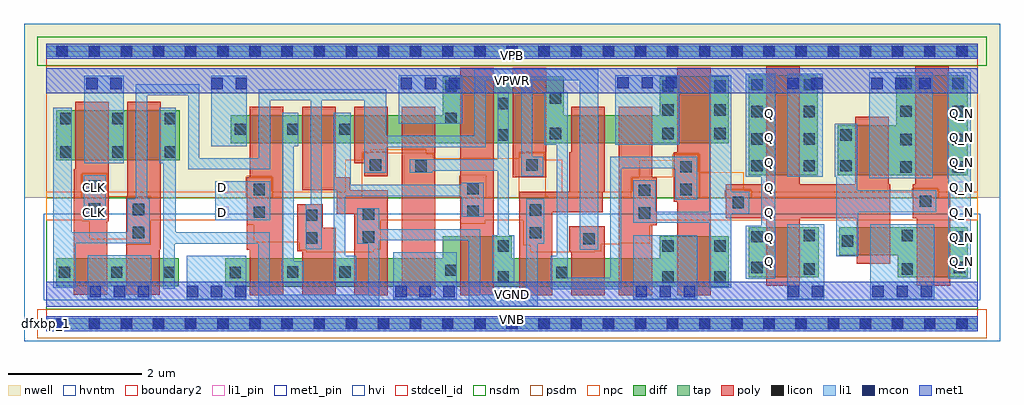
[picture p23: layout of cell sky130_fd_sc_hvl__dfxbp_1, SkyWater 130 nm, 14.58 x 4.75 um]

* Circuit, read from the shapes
.subckt sky130_fd_sc_hvl__dfxbp_1 CLK D Q Q_N VGND VNB VPB VPWR
XM1 VGND CLK n1 VNB sky130_fd_pr__nfet_g5v0d10v5 w=0.42 l=0.5
XM2 n2 n1 VGND VNB sky130_fd_pr__nfet_g5v0d10v5 w=0.42 l=0.5
XM3 n3 D VGND VNB sky130_fd_pr__nfet_g5v0d10v5 w=0.42 l=0.5
XM4 n4 n1 n3 VNB sky130_fd_pr__nfet_g5v0d10v5 w=0.42 l=0.5
XM5 n5 n2 n4 VNB sky130_fd_pr__nfet_g5v0d10v5 w=0.42 l=0.5
XM6 VGND n6 n5 VNB sky130_fd_pr__nfet_g5v0d10v5 w=0.42 l=0.5
XM7 n6 n4 VGND VNB sky130_fd_pr__nfet_g5v0d10v5 w=0.75 l=0.5
XM8 n7 n2 n6 VNB sky130_fd_pr__nfet_g5v0d10v5 w=0.42 l=0.5
XM9 n8 n1 n7 VNB sky130_fd_pr__nfet_g5v0d10v5 w=0.42 l=0.5
XM10 VGND n9 n8 VNB sky130_fd_pr__nfet_g5v0d10v5 w=0.42 l=0.5
XM11 n9 n7 VGND VNB sky130_fd_pr__nfet_g5v0d10v5 w=0.75 l=0.5
XM12 VGND n9 Q VNB sky130_fd_pr__nfet_g5v0d10v5 w=0.75 l=0.5
XM13 VGND n9 n10 VNB sky130_fd_pr__nfet_g5v0d10v5 w=0.42 l=0.5
XM14 Q_N n10 VGND VNB sky130_fd_pr__nfet_g5v0d10v5 w=0.75 l=0.5
XM15 VPWR CLK n1 VPB sky130_fd_pr__pfet_g5v0d10v5 w=0.75 l=0.5
XM16 n2 n1 VPWR VPB sky130_fd_pr__pfet_g5v0d10v5 w=0.75 l=0.5
XM17 n3 D VPWR VPB sky130_fd_pr__pfet_g5v0d10v5 w=0.42 l=0.5
XM18 n4 n2 n3 VPB sky130_fd_pr__pfet_g5v0d10v5 w=0.42 l=0.5
XM19 n11 n1 n4 VPB sky130_fd_pr__pfet_g5v0d10v5 w=0.42 l=0.5
XM20 VPWR n6 n11 VPB sky130_fd_pr__pfet_g5v0d10v5 w=0.42 l=0.5
XM21 n6 n4 VPWR VPB sky130_fd_pr__pfet_g5v0d10v5 w=1 l=0.5
XM22 n7 n1 n6 VPB sky130_fd_pr__pfet_g5v0d10v5 w=1 l=0.5
XM23 n12 n2 n7 VPB sky130_fd_pr__pfet_g5v0d10v5 w=0.42 l=0.5
XM24 VPWR n9 n12 VPB sky130_fd_pr__pfet_g5v0d10v5 w=0.42 l=0.5
XM25 n9 n7 VPWR VPB sky130_fd_pr__pfet_g5v0d10v5 w=1 l=0.5
XM26 VPWR n9 Q VPB sky130_fd_pr__pfet_g5v0d10v5 w=1.5 l=0.5
XM27 VPWR n9 n10 VPB sky130_fd_pr__pfet_g5v0d10v5 w=0.75 l=0.5
XM28 Q_N n10 VPWR VPB sky130_fd_pr__pfet_g5v0d10v5 w=1.5 l=0.5
.ends

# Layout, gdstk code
import gdstk
lib = gdstk.Library(unit=1e-6, precision=1e-09)
def R(c, l, rs):  # rectangles x0, y0, x1, y1
    for r in rs: c.add(gdstk.rectangle(r[:2], r[2:], *l))
def A(c, l, x, y, w, h, nx, ny, dx, dy):  # array of equal rectangles
    R(c, l, [(x+i*dx, y+j*dy, x+i*dx+w, y+j*dy+h) for i in range(nx) for j in range(ny)])
def P(c, l, *ps):  # polygons
    for p in ps: c.add(gdstk.Polygon(p, *l))
nwell = (64, 20)
diff = (65, 20)
tap = (65, 44)
poly = (66, 20)
licon = (66, 44)
li1_pin = (67, 16)
li1 = (67, 20)
mcon = (67, 44)
met1_pin = (68, 16)
met1 = (68, 20)
hvi = (75, 20)
stdcell_id = (81, 4)
nsdm = (93, 44)
psdm = (94, 20)
npc = (95, 20)
hvntm = (125, 20)
boundary2 = (236, 0)

sky130_fd_sc_hvl__dfxbp_ = lib.new_cell('sky130_fd_sc_hvl__dfxbp_1')
R(sky130_fd_sc_hvl__dfxbp_, nwell, [(-0.33,1.885,14.25,4.485)])
R(sky130_fd_sc_hvl__dfxbp_, diff, [(0.15,0.56,1.98,0.98), (10.495,0.695,11.545,1.445), (10.495,2.215,11.525,3.715), (0.15,2.44,2,3.19)])
P(sky130_fd_sc_hvl__dfxbp_, diff, [(10.195,3.695),(9.165,3.695),(9.165,3.115),(7.735,3.115),(7.735,3.695),(5.925,3.695),(5.925,3.115),(2.76,3.115),(2.76,2.695),(10.195,2.695)],
  [(10.195,1.305),(9.165,1.305),(9.165,0.975),(6.955,0.975),(6.955,1.305),(5.925,1.305),(5.925,0.975),(2.68,0.975),(2.68,0.555),(10.195,0.555)],
  [(13.77,3.715),(12.7,3.715),(12.7,2.965),(11.825,2.965),(11.825,2.215),(13.77,2.215)],
  [(13.77,1.445),(11.845,1.445),(11.845,1.025),(12.72,1.025),(12.72,0.695),(13.77,0.695)])
R(sky130_fd_sc_hvl__dfxbp_, tap, [(0,-0.085,13.92,0.085), (0,3.985,13.92,4.155)])
R(sky130_fd_sc_hvl__dfxbp_, poly, [(5.315,0.425,5.815,3.245), (6.19,0.425,6.69,3.825), (6.97,2.185,7.47,3.825)])
P(sky130_fd_sc_hvl__dfxbp_, poly, [(0.935,3.32),(0.435,3.32),(0.435,2.31),(0.415,2.31),(0.415,0.43),(0.915,0.43),(0.915,1.53),(0.935,1.53)],
  [(1.715,3.32),(1.215,3.32),(1.215,1.89),(1.195,1.89),(1.195,0.43),(1.695,0.43),(1.695,1.11),(1.715,1.11)],
  [(3.545,3.245),(3.045,3.245),(3.045,2.19),(3,2.19),(3,1.105),(3.045,1.105),(3.045,0.425),(3.545,0.425)],
  [(4.325,1.435),(4.13,1.435),(4.13,1.785),(3.755,1.785),(3.755,1.085),(3.825,1.085),(3.825,0.425),(4.325,0.425)],
  [(5.105,3.245),(4.605,3.245),(4.605,2.395),(4.755,2.395),(4.755,2.205),(5.105,2.205)],
  [(5.105,1.995),(4.545,1.995),(4.545,2.185),(4.325,2.185),(4.325,3.245),(3.825,3.245),(3.825,1.995),(4.34,1.995),(4.34,1.645),(4.605,1.645),(4.605,0.425),(5.105,0.425)],
  [(8.345,3.245),(7.845,3.245),(7.845,2.565),(7.815,2.565),(7.815,1.975),(7.065,1.975),(7.065,0.425),(7.565,0.425),(7.565,1.665),(8.315,1.665),(8.315,1.975),(8.345,1.975)],
  [(8.345,1.455),(7.815,1.455),(7.815,1.085),(7.845,1.085),(7.845,0.425),(8.345,0.425)],
  [(9.125,2.18),(9.055,2.18),(9.055,3.245),(8.555,3.245),(8.555,0.425),(9.055,0.425),(9.055,1.47),(9.125,1.47)],
  [(9.93,3.825),(9.43,3.825),(9.43,2.565),(9.375,2.565),(9.375,1.82),(9.43,1.82),(9.43,0.425),(9.93,0.425)],
  [(12.61,2.085),(12.59,2.085),(12.59,3.095),(12.09,3.095),(12.09,2.085),(11.26,2.085),(11.26,3.845),(10.76,3.845),(10.76,2.085),(10.155,2.085),(10.155,1.575),(10.76,1.575),(10.76,0.565),(11.26,0.565),(11.26,1.575),(12.11,1.575),(12.11,0.895),(12.61,0.895)],
  [(13.505,2.085),(13.485,2.085),(13.485,3.845),(12.985,3.845),(12.985,2.085),(12.95,2.085),(12.95,1.575),(13.005,1.575),(13.005,0.565),(13.505,0.565)])
A(sky130_fd_sc_hvl__dfxbp_, licon, 0.155, -0.085, 0.17, 0.17, 29, 2, 0.48, 4.07)
A(sky130_fd_sc_hvl__dfxbp_, licon, 0.19, 0.685, 0.17, 0.17, 3, 1, 0.78, 0)
A(sky130_fd_sc_hvl__dfxbp_, licon, 0.21, 2.48, 0.17, 0.17, 3, 2, 0.78, 0.5)
A(sky130_fd_sc_hvl__dfxbp_, licon, 9.205, 2.755, 0.17, 0.17, 1, 3, 0, 0.355)
A(sky130_fd_sc_hvl__dfxbp_, licon, 9.985, 2.755, 0.17, 0.17, 1, 3, 0, 0.355)
A(sky130_fd_sc_hvl__dfxbp_, licon, 2.82, 2.82, 0.17, 0.17, 3, 1, 0.78, 0)
R(sky130_fd_sc_hvl__dfxbp_, licon, [(6.745,0.615,6.915,0.785), (9.205,0.615,9.375,0.785), (9.985,0.615,10.155,0.785), (2.74,0.68,2.91,0.85), (7.62,0.68,7.79,0.85), (3.6,0.69,3.77,0.86), (4.38,0.69,4.55,0.86), (5.965,0.715,6.135,0.885), (11.315,0.735,11.485,0.905), (12.78,0.735,12.95,0.905), (10.535,0.755,10.705,0.925), (13.56,0.755,13.73,0.925), (6.745,1.075,6.915,1.245), (9.205,1.075,9.375,1.245), (9.985,1.075,10.155,1.245), (11.885,1.15,12.055,1.32), (8.025,1.185,8.195,1.355), (3.88,1.195,4.05,1.365), (4.73,1.21,4.9,1.38), (10.535,1.215,10.705,1.385), (13.56,1.215,13.73,1.385), (11.315,1.235,11.485,1.405), (12.78,1.235,12.95,1.405), (7.225,1.275,7.395,1.445), (1.295,1.28,1.465,1.45), (3.88,1.535,4.05,1.705), (4.73,1.55,4.9,1.72), (8.855,1.57,9.025,1.74), (3.1,1.58,3.27,1.75), (6.29,1.595,6.46,1.765), (7.225,1.615,7.395,1.785), (1.295,1.62,1.465,1.79), (0.64,1.63,0.81,1.8), (10.255,1.725,10.425,1.895), (13.05,1.745,13.22,1.915), (8.855,1.91,9.025,2.08), (3.1,1.92,3.27,2.09), (9.475,1.92,9.645,2.09), (6.29,1.935,6.46,2.105), (0.64,1.97,0.81,2.14), (12.76,2.255,12.93,2.425), (13.54,2.255,13.71,2.425), (9.475,2.26,9.645,2.43), (5.515,2.27,5.685,2.44), (10.535,2.275,10.705,2.445), (11.315,2.275,11.485,2.445), (11.865,2.275,12.035,2.445), (4.835,2.285,5.005,2.455), (7.175,2.285,7.345,2.455), (12.76,2.67,12.93,2.84), (13.54,2.67,13.71,2.84), (10.535,2.675,10.705,2.845), (11.315,2.675,11.485,2.845), (6.745,2.735,6.915,2.905), (11.865,2.735,12.035,2.905), (7.525,2.755,7.695,2.925), (5.965,2.985,6.135,3.155), (10.535,3.085,10.705,3.255), (11.315,3.085,11.485,3.255), (12.76,3.09,12.93,3.26), (13.54,3.09,13.71,3.26), (6.745,3.205,6.915,3.375), (7.525,3.285,7.695,3.455), (5.965,3.465,6.135,3.635), (10.535,3.485,10.705,3.655), (11.315,3.485,11.485,3.655), (12.76,3.505,12.93,3.675), (13.54,3.505,13.71,3.675)])
A(sky130_fd_sc_hvl__dfxbp_, li1_pin, 10.715, 0.84, 0.17, 0.17, 1, 7, 0, 0.37)
A(sky130_fd_sc_hvl__dfxbp_, li1_pin, 13.595, 0.84, 0.17, 0.17, 1, 7, 0, 0.37)
R(sky130_fd_sc_hvl__dfxbp_, li1_pin, [(0.635,1.58,0.805,1.75), (2.555,1.58,2.725,1.75), (0.635,1.95,0.805,2.12), (2.555,1.95,2.725,2.12)])
R(sky130_fd_sc_hvl__dfxbp_, li1, [(0,-0.085,13.92,0.085), (0.62,0.365,1.57,1.02), (2.1,0.365,2.99,1.015), (5.185,0.365,6.135,1.065), (8.775,0.365,9.725,1.325), (11.07,0.365,11.625,1.485), (12.315,0.365,13.265,1.485), (2.525,1.545,3.35,2.125), (0.56,1.55,0.89,2.22), (12.295,2.175,13.245,3.755), (11.07,2.195,11.605,3.735), (0.57,2.4,1.16,3.705), (2.47,2.655,3,3.705), (8.505,2.675,9.455,3.715), (5.265,2.985,6.215,3.715), (0,3.985,13.92,4.155)])
P(sky130_fd_sc_hvl__dfxbp_, li1, [(3.85,0.935),(3.7,0.935),(3.7,2.655),(3.77,2.655),(3.77,3.155),(3.53,3.155),(3.53,0.935),(3.52,0.935),(3.52,0.615),(3.85,0.615)],
  [(6.54,2.105),(6.21,2.105),(6.21,2.075),(4.55,2.075),(4.55,3.155),(4.3,3.155),(4.3,0.615),(4.63,0.615),(4.63,1.015),(4.47,1.015),(4.47,1.905),(6.21,1.905),(6.21,1.595),(6.54,1.595)],
  [(6.995,1.325),(6.915,1.325),(6.915,3.455),(6.745,3.455),(6.745,2.455),(5.435,2.455),(5.435,2.255),(5.765,2.255),(5.765,2.285),(6.745,2.285),(6.745,1.325),(6.665,1.325),(6.665,0.615),(6.995,0.615)],
  [(7.445,1.865),(7.175,1.865),(7.175,0.435),(6.485,0.435),(6.485,1.415),(4.98,1.415),(4.98,1.725),(4.65,1.725),(4.65,1.195),(4.81,1.195),(4.81,0.435),(3.34,0.435),(3.34,1.365),(1.94,1.365),(1.94,3.23),(1.69,3.23),(1.69,2.4),(1.75,2.4),(1.75,0.52),(1.92,0.52),(1.92,1.195),(3.17,1.195),(3.17,0.265),(4.98,0.265),(4.98,1.245),(6.315,1.245),(6.315,0.265),(7.345,0.265),(7.345,1.195),(7.445,1.195)],
  [(8.245,3.805),(6.395,3.805),(6.395,2.805),(5.085,2.805),(5.085,3.505),(3.18,3.505),(3.18,2.475),(2.29,2.475),(2.29,3.58),(1.34,3.58),(1.34,1.87),(1.215,1.87),(1.215,1.37),(0.38,1.37),(0.38,3.23),(0.11,3.23),(0.11,0.54),(0.44,0.54),(0.44,1.2),(1.545,1.2),(1.545,1.87),(1.51,1.87),(1.51,3.41),(2.12,3.41),(2.12,2.305),(3.35,2.305),(3.35,3.335),(3.95,3.335),(3.95,1.785),(3.88,1.785),(3.88,1.115),(4.12,1.115),(4.12,3.335),(4.755,3.335),(4.755,2.255),(5.085,2.255),(5.085,2.635),(6.565,2.635),(6.565,3.635),(7.095,3.635),(7.095,2.205),(7.425,2.205),(7.425,2.495),(7.265,2.495),(7.265,3.635),(7.975,3.635),(7.975,1.105),(8.245,1.105)],
  [(9.725,2.495),(8.425,2.495),(8.425,0.685),(7.795,0.685),(7.795,3.455),(7.445,3.455),(7.445,2.675),(7.625,2.675),(7.625,1.015),(7.54,1.015),(7.54,0.515),(8.595,0.515),(8.595,2.325),(9.395,2.325),(9.395,1.855),(9.725,1.855)],
  [(10.505,1.975),(10.235,1.975),(10.235,3.715),(9.905,3.715),(9.905,1.675),(9.105,1.675),(9.105,2.145),(8.775,2.145),(8.775,1.505),(9.905,1.505),(9.905,0.535),(10.235,0.535),(10.235,1.645),(10.505,1.645)],
  [(10.89,3.735),(10.455,3.735),(10.455,2.195),(10.685,2.195),(10.685,1.465),(10.455,1.465),(10.455,0.675),(10.89,0.675)],
  [(13.3,1.995),(12.115,1.995),(12.115,2.985),(11.785,2.985),(11.785,2.195),(11.805,2.195),(11.805,1.005),(12.135,1.005),(12.135,1.665),(13.3,1.665)],
  [(13.81,3.755),(13.46,3.755),(13.46,2.175),(13.48,2.175),(13.48,0.675),(13.81,0.675)])
A(sky130_fd_sc_hvl__dfxbp_, mcon, 0.65, 0.395, 0.17, 0.17, 3, 1, 0.36, 0)
A(sky130_fd_sc_hvl__dfxbp_, mcon, 2.1, 0.395, 0.17, 0.17, 3, 1, 0.36, 0)
A(sky130_fd_sc_hvl__dfxbp_, mcon, 5.215, 0.395, 0.17, 0.17, 3, 1, 0.36, 0)
A(sky130_fd_sc_hvl__dfxbp_, mcon, 8.805, 0.395, 0.17, 0.17, 3, 1, 0.36, 0)
A(sky130_fd_sc_hvl__dfxbp_, mcon, 12.345, 0.395, 0.17, 0.17, 3, 1, 0.36, 0)
A(sky130_fd_sc_hvl__dfxbp_, mcon, 5.295, 3.505, 0.17, 0.17, 3, 1, 0.36, 0)
A(sky130_fd_sc_hvl__dfxbp_, mcon, 12.325, 3.505, 0.17, 0.17, 3, 1, 0.36, 0)
A(sky130_fd_sc_hvl__dfxbp_, mcon, 8.535, 3.515, 0.17, 0.17, 3, 1, 0.36, 0)
R(sky130_fd_sc_hvl__dfxbp_, mcon, [(0.155,-0.085,0.325,0.085), (0.155,-0.085,0.325,0.085), (0.635,-0.085,0.805,0.085), (0.635,-0.085,0.805,0.085), (1.115,-0.085,1.285,0.085), (1.115,-0.085,1.285,0.085), (1.595,-0.085,1.765,0.085), (1.595,-0.085,1.765,0.085), (2.075,-0.085,2.245,0.085), (2.075,-0.085,2.245,0.085), (2.555,-0.085,2.725,0.085), (2.555,-0.085,2.725,0.085), (3.035,-0.085,3.205,0.085), (3.035,-0.085,3.205,0.085), (3.515,-0.085,3.685,0.085), (3.515,-0.085,3.685,0.085), (3.995,-0.085,4.165,0.085), (3.995,-0.085,4.165,0.085), (4.475,-0.085,4.645,0.085), (4.475,-0.085,4.645,0.085), (4.955,-0.085,5.125,0.085), (4.955,-0.085,5.125,0.085), (5.435,-0.085,5.605,0.085), (5.435,-0.085,5.605,0.085), (5.915,-0.085,6.085,0.085), (5.915,-0.085,6.085,0.085), (6.395,-0.085,6.565,0.085), (6.395,-0.085,6.565,0.085), (6.875,-0.085,7.045,0.085), (6.875,-0.085,7.045,0.085), (7.355,-0.085,7.525,0.085), (7.355,-0.085,7.525,0.085), (7.835,-0.085,8.005,0.085), (7.835,-0.085,8.005,0.085), (8.315,-0.085,8.485,0.085), (8.315,-0.085,8.485,0.085), (8.795,-0.085,8.965,0.085), (8.795,-0.085,8.965,0.085), (9.275,-0.085,9.445,0.085), (9.275,-0.085,9.445,0.085), (9.755,-0.085,9.925,0.085), (9.755,-0.085,9.925,0.085), (10.235,-0.085,10.405,0.085), (10.235,-0.085,10.405,0.085), (10.715,-0.085,10.885,0.085), (10.715,-0.085,10.885,0.085), (11.195,-0.085,11.365,0.085), (11.195,-0.085,11.365,0.085), (11.675,-0.085,11.845,0.085), (11.675,-0.085,11.845,0.085), (12.155,-0.085,12.325,0.085), (12.155,-0.085,12.325,0.085), (12.635,-0.085,12.805,0.085), (12.635,-0.085,12.805,0.085), (13.115,-0.085,13.285,0.085), (13.115,-0.085,13.285,0.085), (13.595,-0.085,13.765,0.085), (13.595,-0.085,13.765,0.085), (11.08,0.395,11.25,0.565), (11.44,0.395,11.61,0.565), (0.6,3.505,0.77,3.675), (0.96,3.505,1.13,3.675), (2.47,3.505,2.64,3.675), (2.83,3.505,3,3.675), (11.07,3.505,11.24,3.675), (11.43,3.505,11.6,3.675), (0.155,3.985,0.325,4.155), (0.155,3.985,0.325,4.155), (0.635,3.985,0.805,4.155), (0.635,3.985,0.805,4.155), (1.115,3.985,1.285,4.155), (1.115,3.985,1.285,4.155), (1.595,3.985,1.765,4.155), (1.595,3.985,1.765,4.155), (2.075,3.985,2.245,4.155), (2.075,3.985,2.245,4.155), (2.555,3.985,2.725,4.155), (2.555,3.985,2.725,4.155), (3.035,3.985,3.205,4.155), (3.035,3.985,3.205,4.155), (3.515,3.985,3.685,4.155), (3.515,3.985,3.685,4.155), (3.995,3.985,4.165,4.155), (3.995,3.985,4.165,4.155), (4.475,3.985,4.645,4.155), (4.475,3.985,4.645,4.155), (4.955,3.985,5.125,4.155), (4.955,3.985,5.125,4.155), (5.435,3.985,5.605,4.155), (5.435,3.985,5.605,4.155), (5.915,3.985,6.085,4.155), (5.915,3.985,6.085,4.155), (6.395,3.985,6.565,4.155), (6.395,3.985,6.565,4.155), (6.875,3.985,7.045,4.155), (6.875,3.985,7.045,4.155), (7.355,3.985,7.525,4.155), (7.355,3.985,7.525,4.155), (7.835,3.985,8.005,4.155), (7.835,3.985,8.005,4.155), (8.315,3.985,8.485,4.155), (8.315,3.985,8.485,4.155), (8.795,3.985,8.965,4.155), (8.795,3.985,8.965,4.155), (9.275,3.985,9.445,4.155), (9.275,3.985,9.445,4.155), (9.755,3.985,9.925,4.155), (9.755,3.985,9.925,4.155), (10.235,3.985,10.405,4.155), (10.235,3.985,10.405,4.155), (10.715,3.985,10.885,4.155), (10.715,3.985,10.885,4.155), (11.195,3.985,11.365,4.155), (11.195,3.985,11.365,4.155), (11.675,3.985,11.845,4.155), (11.675,3.985,11.845,4.155), (12.155,3.985,12.325,4.155), (12.155,3.985,12.325,4.155), (12.635,3.985,12.805,4.155), (12.635,3.985,12.805,4.155), (13.115,3.985,13.285,4.155), (13.115,3.985,13.285,4.155), (13.595,3.985,13.765,4.155), (13.595,3.985,13.765,4.155)])
R(sky130_fd_sc_hvl__dfxbp_, met1_pin, [(0,0,13.92,0.115), (0,0.255,13.92,0.625), (0,3.445,13.92,3.815), (0,3.955,13.92,4.07)])
R(sky130_fd_sc_hvl__dfxbp_, met1, [(0,-0.115,13.92,0.115), (0,0.255,13.92,0.625), (0,3.445,13.92,3.815), (0,3.955,13.92,4.185)])
R(sky130_fd_sc_hvl__dfxbp_, hvi, [(-0.33,-0.265,14.25,4.485)])
R(sky130_fd_sc_hvl__dfxbp_, stdcell_id, [(0,0,13.92,4.07)])
R(sky130_fd_sc_hvl__dfxbp_, nsdm, [(0,0.215,13.92,1.885), (-0.13,3.855,14.05,4.285), (0,3.855,13.92,4.07)])
R(sky130_fd_sc_hvl__dfxbp_, psdm, [(-0.13,-0.215,14.05,0.215)])
P(sky130_fd_sc_hvl__dfxbp_, psdm, [(13.92,3.855),(0,3.855),(0,1.885),(0.53,1.885),(0.53,2.25),(0.92,2.25),(0.92,1.9),(1.575,1.9),(1.575,1.885),(2.99,1.885),(2.99,2.2),(3.38,2.2),(3.38,1.885),(4.725,1.885),(4.725,2.565),(5.115,2.565),(5.115,2.55),(5.795,2.55),(5.795,1.885),(6.18,1.885),(6.18,2.215),(6.57,2.215),(6.57,1.885),(7.065,1.885),(7.065,2.565),(7.455,2.565),(7.455,1.895),(7.505,1.895),(7.505,1.885),(8.745,1.885),(8.745,2.19),(9.365,2.19),(9.365,2.54),(9.755,2.54),(9.755,1.885),(10.145,1.885),(10.145,2.005),(10.535,2.005),(10.535,1.885),(12.94,1.885),(12.94,2.025),(13.33,2.025),(13.33,1.885),(13.92,1.885)])
P(sky130_fd_sc_hvl__dfxbp_, npc, [(13.92,1.97),(13.32,1.97),(13.32,2.015),(12.95,2.015),(12.95,1.97),(10.525,1.97),(10.525,1.995),(10.42,1.995),(10.42,2.26),(9.745,2.26),(9.745,2.53),(9.375,2.53),(9.375,2.445),(8.86,2.445),(8.86,2.18),(8.755,2.18),(8.755,1.97),(7.71,1.97),(7.71,2.45),(7.445,2.45),(7.445,2.555),(7.075,2.555),(7.075,2.47),(5.785,2.47),(5.785,2.54),(5.68,2.54),(5.68,2.605),(4.84,2.605),(4.84,2.555),(4.735,2.555),(4.735,2.45),(4.47,2.45),(4.47,1.97),(3.37,1.97),(3.37,2.19),(3,2.19),(3,1.97),(0.91,1.97),(0.91,2.24),(0.54,2.24),(0.54,1.97),(0,1.97),(0,1.545),(0.54,1.545),(0.54,1.53),(0.645,1.53),(0.645,1.265),(1.195,1.265),(1.195,1.18),(1.565,1.18),(1.565,1.545),(3,1.545),(3,1.48),(3.105,1.48),(3.105,1.215),(3.78,1.215),(3.78,1.095),(3.885,1.095),(3.885,1.065),(4.895,1.065),(4.895,1.11),(5,1.11),(5,1.545),(6.19,1.545),(6.19,1.495),(6.56,1.495),(6.56,1.545),(7.125,1.545),(7.125,1.175),(7.23,1.175),(7.23,1.065),(8.19,1.065),(8.19,1.085),(8.295,1.085),(8.295,1.19),(8.56,1.19),(8.56,1.205),(9.02,1.205),(9.02,1.47),(9.125,1.47),(9.125,1.545),(13.92,1.545)])
R(sky130_fd_sc_hvl__dfxbp_, hvntm, [(-0.035,0.35,13.955,1.64)])
R(sky130_fd_sc_hvl__dfxbp_, boundary2, [(0,0,13.92,4.07)])
sky130_fd_sc_hvl__dfxbp_.add(gdstk.Label('dfxbp_1', (0,0), layer=83, texttype=44))
sky130_fd_sc_hvl__dfxbp_.add(gdstk.Label('VGND', (6.96,0.44), layer=68, texttype=5))
sky130_fd_sc_hvl__dfxbp_.add(gdstk.Label('VNB', (6.96,0.058), layer=68, texttype=5))
sky130_fd_sc_hvl__dfxbp_.add(gdstk.Label('VPWR', (6.96,3.63), layer=68, texttype=5))
sky130_fd_sc_hvl__dfxbp_.add(gdstk.Label('VPB', (6.96,4.013), layer=68, texttype=5))
sky130_fd_sc_hvl__dfxbp_.add(gdstk.Label('CLK', (0.72,1.665), layer=67, texttype=5))
sky130_fd_sc_hvl__dfxbp_.add(gdstk.Label('CLK', (0.72,2.035), layer=67, texttype=5))
sky130_fd_sc_hvl__dfxbp_.add(gdstk.Label('Q_N', (13.68,0.925), layer=67, texttype=5))
sky130_fd_sc_hvl__dfxbp_.add(gdstk.Label('Q_N', (13.68,1.295), layer=67, texttype=5))
sky130_fd_sc_hvl__dfxbp_.add(gdstk.Label('Q_N', (13.68,1.665), layer=67, texttype=5))
sky130_fd_sc_hvl__dfxbp_.add(gdstk.Label('Q_N', (13.68,2.035), layer=67, texttype=5))
sky130_fd_sc_hvl__dfxbp_.add(gdstk.Label('Q_N', (13.68,2.405), layer=67, texttype=5))
sky130_fd_sc_hvl__dfxbp_.add(gdstk.Label('Q_N', (13.68,2.775), layer=67, texttype=5))
sky130_fd_sc_hvl__dfxbp_.add(gdstk.Label('Q_N', (13.68,3.145), layer=67, texttype=5))
sky130_fd_sc_hvl__dfxbp_.add(gdstk.Label('D', (2.64,1.665), layer=67, texttype=5))
sky130_fd_sc_hvl__dfxbp_.add(gdstk.Label('D', (2.64,2.035), layer=67, texttype=5))
sky130_fd_sc_hvl__dfxbp_.add(gdstk.Label('Q', (10.8,0.925), layer=67, texttype=5))
sky130_fd_sc_hvl__dfxbp_.add(gdstk.Label('Q', (10.8,1.295), layer=67, texttype=5))
sky130_fd_sc_hvl__dfxbp_.add(gdstk.Label('Q', (10.8,1.665), layer=67, texttype=5))
sky130_fd_sc_hvl__dfxbp_.add(gdstk.Label('Q', (10.8,2.035), layer=67, texttype=5))
sky130_fd_sc_hvl__dfxbp_.add(gdstk.Label('Q', (10.8,2.405), layer=67, texttype=5))
sky130_fd_sc_hvl__dfxbp_.add(gdstk.Label('Q', (10.8,2.775), layer=67, texttype=5))
sky130_fd_sc_hvl__dfxbp_.add(gdstk.Label('Q', (10.8,3.145), layer=67, texttype=5))

lib.write_gds('sky130_fd_sc_hvl__dfxbp_1.gds')
